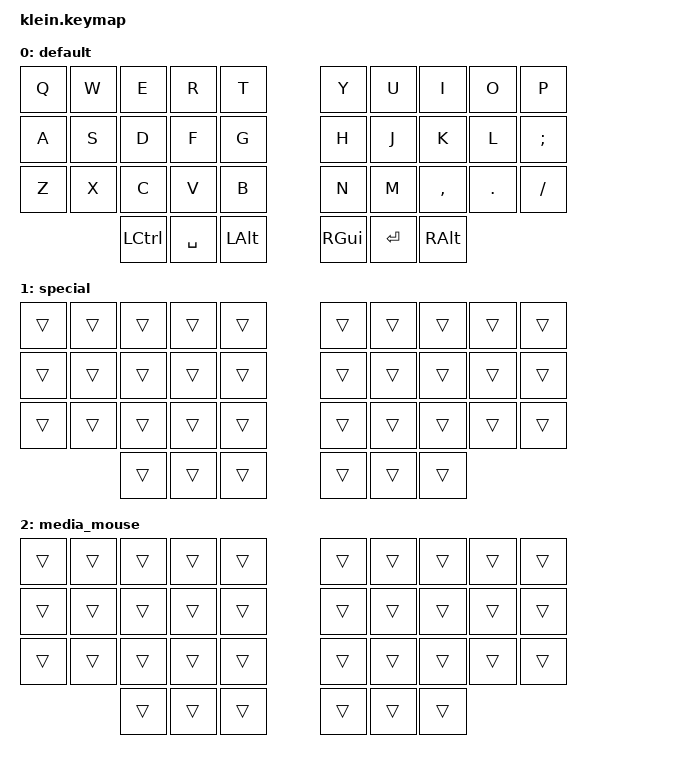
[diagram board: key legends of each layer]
#include <behaviors.dtsi>
#include <dt-bindings/zmk/keys.h>

/ {
    keymap {
        compatible = "zmk,keymap";

        default {
            bindings = <
&kp Q  &kp W  &kp E      &kp R    &kp T     &kp Y     &kp U      &kp I      &kp O    &kp P
&kp A  &kp S  &kp D      &kp F    &kp G     &kp H     &kp J      &kp K      &kp L    &kp SEMI
&kp Z  &kp X  &kp C      &kp V    &kp B     &kp N     &kp M      &kp COMMA  &kp DOT  &kp SLASH
              &kp LCTRL  &kp SPC  &kp LALT  &kp RGUI  &kp ENTER  &kp RALT
            >;
        };

        special {
            bindings = <
&trans  &trans  &trans  &trans  &trans  &trans  &trans  &trans  &trans  &trans
&trans  &trans  &trans  &trans  &trans  &trans  &trans  &trans  &trans  &trans
&trans  &trans  &trans  &trans  &trans  &trans  &trans  &trans  &trans  &trans
                &trans  &trans  &trans  &trans  &trans  &trans
            >;
        };

        media_mouse {
            bindings = <
&trans  &trans  &trans  &trans  &trans  &trans  &trans  &trans  &trans  &trans
&trans  &trans  &trans  &trans  &trans  &trans  &trans  &trans  &trans  &trans
&trans  &trans  &trans  &trans  &trans  &trans  &trans  &trans  &trans  &trans
                &trans  &trans  &trans  &trans  &trans  &trans
            >;
        };
    };
};
